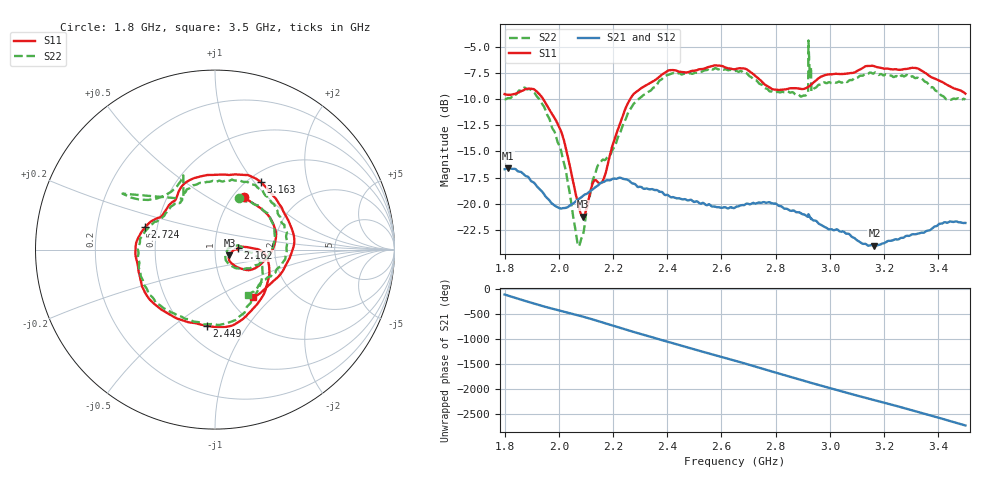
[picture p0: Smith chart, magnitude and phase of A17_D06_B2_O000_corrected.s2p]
! Created with skrf 1.9.0 (http://scikit-rf.org).
# Hz S RI R 50.0
!freq ReS11 ImS11 ReS21 ImS21 ReS12 ImS12 ReS22 ImS22
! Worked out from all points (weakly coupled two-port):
!   1601 points, 1.8 GHz to 3.5 GHz, reference 50 ohm
!   highest |S21| = -16.61 dB at 1.812 GHz (marker M1); lowest = -24.0 dB at 3.164 GHz (marker M2)
!   lowest |S11| = -21.2 dB at 2.09 GHz (marker M3), VSWR 1.19, Z = 58.6 - j3.86 ohm
!   |S11| at or under -10 dB: 1.943 GHz to 2.263 GHz (320.6 MHz wide, 15.2 % of centre)
!   |S22| runs from -24.0 to -4.4 dB; largest |S21 - S12| = 0.0025
!   S11 on the Smith chart (normalised r, x): 1.8 GHz: 1.12, +0.74; 2.162 GHz: 1.29, +0.02; 2.449 GHz: 0.64, -0.66; 2.724 GHz: 0.43, +0.13; 3.163 GHz: 1.15, +1.08; 3.5 GHz: 1.28, -0.76
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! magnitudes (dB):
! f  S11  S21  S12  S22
! 1.8 GHz  -9.5  -16.7  -16.7  -10.0
! 1.812 GHz  -9.6  -16.6  -16.6  -9.9
! 1.88 GHz  -9.0  -17.4  -17.3  -9.0
! 1.942 GHz  -10.0  -19.0  -19.0  -10.6
! 2.011 GHz  -13.3  -20.4  -20.4  -15.3
! 2.067 GHz  -19.5  -19.6  -19.6  -23.4
! 2.084 GHz  -21.1  -19.4  -19.3  -23.3
! 2.09 GHz  -21.2  -19.2  -19.2  -22.8
! 2.127 GHz  -17.9  -18.6  -18.6  -17.6
! 2.162 GHz  -17.8  -17.9  -17.9  -15.8
! 2.259 GHz  -10.2  -17.8  -17.8  -11.1
! 2.367 GHz  -8.0  -18.8  -18.7  -8.4
! 2.449 GHz  -7.4  -19.5  -19.5  -7.6
! 2.65 GHz  -7.1  -20.4  -20.3  -7.3
! 2.724 GHz  -7.8  -20.0  -19.9  -8.2
! 2.895 GHz  -9.0  -20.9  -20.9  -9.7
! 2.922 GHz  -8.8  -21.0  -21.0  -5.2
! 2.934 GHz  -8.6  -21.5  -21.4  -9.2
! 3.163 GHz  -6.9  -24.0  -24.0  -7.5
! 3.164 GHz  -6.9  -24.0  -24.0  -7.5
! 3.217 GHz  -7.1  -23.5  -23.5  -7.8
! 3.5 GHz  -9.5  -21.8  -21.8  -10.1
